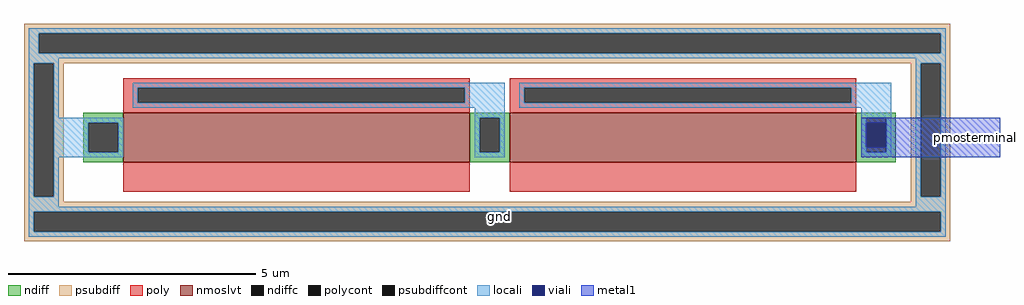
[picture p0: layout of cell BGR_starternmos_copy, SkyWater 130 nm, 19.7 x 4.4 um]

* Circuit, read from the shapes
.subckt BGR_starternmos_copy pmosterminal gnd
XM1 n1 n1 gnd gnd sky130_fd_pr__nfet_01v8_lvt w=1 l=7
XM2 pmosterminal pmosterminal n1 gnd sky130_fd_pr__nfet_01v8_lvt w=1 l=7
.ends

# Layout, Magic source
magic
tech sky130A
<< nmoslvt >>
rect -730 -110 -30 -10
rect 50 -110 750 -10
<< ndiff >>
rect -810 -30 -730 -10
rect -810 -90 -800 -30
rect -740 -90 -730 -30
rect -810 -110 -730 -90
rect -30 -20 50 -10
rect -30 -90 -10 -20
rect 30 -90 50 -20
rect -30 -110 50 -90
rect 750 -20 830 -10
rect 750 -90 770 -20
rect 810 -90 830 -20
rect 750 -110 830 -90
<< ndiffc >>
rect -800 -90 -740 -30
rect -10 -90 30 -20
rect 770 -90 810 -20
<< psubdiff >>
rect -930 150 940 170
rect -930 110 -900 150
rect 920 110 940 150
rect -930 90 940 110
rect -930 -180 -910 90
rect -870 -180 -850 90
rect -930 -190 -850 -180
rect 860 -180 880 90
rect 920 -180 940 90
rect 860 -190 940 -180
rect -930 -210 940 -190
rect -930 -250 -910 -210
rect 920 -250 940 -210
rect -930 -270 940 -250
<< psubdiffcont >>
rect -900 110 920 150
rect -910 -180 -870 90
rect 880 -180 920 90
rect -910 -250 920 -210
<< poly >>
rect -730 40 -30 60
rect -730 10 -700 40
rect -40 10 -30 40
rect -730 -10 -30 10
rect 50 40 750 60
rect 50 10 80 40
rect 740 10 750 40
rect 50 -10 750 10
rect -730 -170 -30 -110
rect 50 -170 750 -110
<< polycont >>
rect -700 10 -40 40
rect 80 10 740 40
<< locali >>
rect -920 150 930 160
rect -920 110 -900 150
rect 920 110 930 150
rect -920 100 930 110
rect -920 90 -860 100
rect -920 -180 -910 90
rect -870 -20 -860 90
rect 870 90 930 100
rect -710 40 40 50
rect -710 10 -700 40
rect -40 10 40 40
rect -710 0 40 10
rect 70 40 820 50
rect 70 10 80 40
rect 740 10 820 40
rect 70 0 820 10
rect -20 -20 40 0
rect -870 -30 -730 -20
rect -870 -90 -800 -30
rect -740 -90 -730 -30
rect -870 -100 -730 -90
rect -20 -90 -10 -20
rect 30 -90 40 -20
rect -20 -100 40 -90
rect 760 -20 820 0
rect 760 -90 770 -20
rect 810 -90 820 -20
rect 760 -100 820 -90
rect -870 -180 -860 -100
rect -920 -200 -860 -180
rect 870 -180 880 90
rect 920 -180 930 90
rect 870 -200 930 -180
rect -920 -210 930 -200
rect -920 -250 -910 -210
rect 920 -250 930 -210
rect -920 -260 930 -250
<< viali >>
rect 770 -80 810 -30
<< metal1 >>
rect 760 -30 1040 -20
rect 760 -80 770 -30
rect 810 -80 1040 -30
rect 760 -100 1040 -80
<< labels >>
rlabel psubdiffcont 30 -220 30 -220 1 gnd
port 2 n
rlabel metal1 990 -60 990 -60 1 pmosterminal
port 1 n
<< end >>
